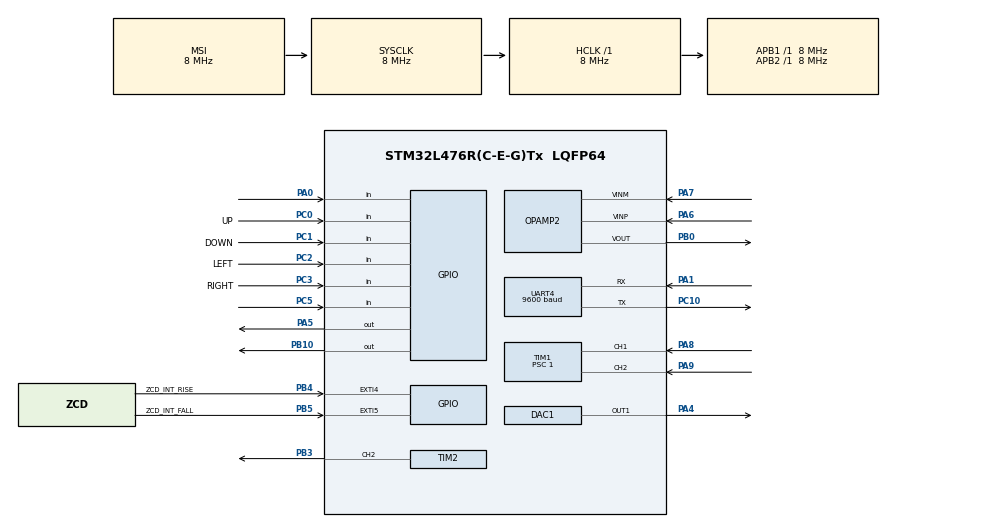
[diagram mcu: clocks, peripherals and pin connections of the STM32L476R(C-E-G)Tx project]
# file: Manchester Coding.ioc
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Mcu.Family=STM32L4
Mcu.Name=STM32L476R(C-E-G)Tx
Mcu.Package=LQFP64
NVIC.EXTI4_IRQn=true\:0\:0\:false\:false\:true\:true
NVIC.EXTI9_5_IRQn=true\:0\:0\:false\:false\:true\:true
NVIC.PriorityGroup=NVIC_PRIORITYGROUP_4
NVIC.TIM1_CC_IRQn=true\:0\:0\:false\:false\:true\:true
NVIC.TIM6_DAC_IRQn=true\:0\:0\:false\:false\:true\:true
NVIC.TIM7_IRQn=true\:0\:0\:false\:false\:true\:true
NVIC.UART4_IRQn=true\:0\:0\:false\:false\:true\:true
OPAMP2.PowerSupplyRange=OPAMP_POWERSUPPLY_HIGH
PA0.Signal=GPIO_Input
PA1.Mode=Asynchronous
PA1.Signal=UART4_RX
PA4.Signal=COMP_DAC11_group
PA5.Signal=GPIO_Output
PA6.Mode=Standalone
PA6.Signal=OPAMP2_VINP
PA7.Mode=Standalone
PA7.Signal=OPAMP2_VINM
PA8.Signal=S_TIM1_CH1
PA9.Signal=S_TIM1_CH2
PB0.Mode=Standalone
PB0.Signal=OPAMP2_VOUT
PB10.Signal=GPIO_Output
PB3\ (JTDO-TRACESWO).Signal=S_TIM2_CH2
PB4\ (NJTRST).GPIO_Label=ZCD_INT_RISE
PB4\ (NJTRST).Signal=GPXTI4
PB5.GPIO_Label=ZCD_INT_FALL
PB5.Signal=GPXTI5
PC0.GPIO_Label=UP
PC0.Signal=GPIO_Input
PC1.GPIO_Label=DOWN
PC1.Signal=GPIO_Input
PC10.Mode=Asynchronous
PC10.Signal=UART4_TX
PC2.GPIO_Label=LEFT
PC2.Signal=GPIO_Input
PC3.GPIO_Label=RIGHT
PC3.Signal=GPIO_Input
PC5.Signal=GPIO_Input
PH0-OSC_IN\ (PH0).Mode=HSE-External-Oscillator
PH0-OSC_IN\ (PH0).Signal=RCC_OSC_IN
PH1-OSC_OUT\ (PH1).Mode=HSE-External-Oscillator
PH1-OSC_OUT\ (PH1).Signal=RCC_OSC_OUT
ProjectManager.HeapSize=0x200
ProjectManager.StackSize=0x400
ProjectManager.TargetToolchain=MDK-ARM V5
RCC.ADCFreq_Value=32000000
RCC.AHBFreq_Value=8000000
RCC.APB1Freq_Value=8000000
RCC.APB1TimFreq_Value=8000000
RCC.APB2Freq_Value=8000000
RCC.APB2TimFreq_Value=8000000
RCC.CortexFreq_Value=8000000
RCC.HCLKFreq_Value=8000000
RCC.HSE_VALUE=8000000
RCC.HSI_VALUE=16000000
RCC.LSE_VALUE=32768
RCC.MSIClockRange=RCC_MSIRANGE_7
RCC.MSI_VALUE=8000000
RCC.SYSCLKFreq_VALUE=8000000
RCC.USBFreq_Value=32000000
RCC.VCOOutputFreq_Value=64000000
SH.COMP_DAC11_group.0=DAC1_OUT1,DAC_OUT1
SH.S_TIM1_CH1.0=TIM1_CH1,Input_Capture1_from_TI1
SH.S_TIM1_CH1.1=TIM1_CH1,TriggerSource_TI1FP1
SH.S_TIM1_CH2.0=TIM1_CH2,Input_Capture2_from_TI2
SH.S_TIM2_CH2.0=TIM2_CH2,PWM Generation2 CH2
TIM1.Channel-Input_Capture1_from_TI1=TIM_CHANNEL_1
TIM1.Channel-Input_Capture2_from_TI2=TIM_CHANNEL_2
TIM1.ICPolarity_CH2=TIM_INPUTCHANNELPOLARITY_FALLING
TIM1.Period=0xFFFF
TIM1.Prescaler=1
TIM1.TIM_MasterOutputTrigger=TIM_TRGO_UPDATE
TIM2.Channel-PWM\ Generation2\ CH2=TIM_CHANNEL_2
TIM2.Period=65535
TIM6.Period=51
TIM6.Prescaler=7
TIM7.Period=0xFFFF
UART4.BaudRate=9600
VP_TIM1_VS_ClockSourceINT.Mode=Internal
VP_TIM1_VS_ControllerModeReset.Mode=Reset Mode
VP_TIM2_VS_ClockSourceINT.Mode=Internal
VP_TIM6_VS_ClockSourceINT.Mode=Enable_Timer
VP_TIM7_VS_ClockSourceINT.Mode=Enable_Timer
board=custom

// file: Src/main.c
/* USER CODE BEGIN Header */
/**
  ******************************************************************************
  * @file           : main.c
  * @brief          : Main program body
  ******************************************************************************
  ** This notice applies to any and all portions of this file
  * that are not between comment pairs USER CODE BEGIN and
  * USER CODE END. Other portions of this file, whether
  * inserted by the user or by software development tools
  * are owned by their respective copyright owners.
  *
  * COPYRIGHT(c) 2019 STMicroelectronics
  *
  * Redistribution and use in source and binary forms, with or without modification,
  * are permitted provided that the following conditions are met:
  *   1. Redistributions of source code must retain the above copyright notice,
  *      this list of conditions and the following disclaimer.
  *   2. Redistributions in binary form must reproduce the above copyright notice,
  *      this list of conditions and the following disclaimer in the documentation
  *      and/or other materials provided with the distribution.
  *   3. Neither the name of STMicroelectronics nor the names of its contributors
  *      may be used to endorse or promote products derived from this software
  *      without specific prior written permission.
  *
  * THIS SOFTWARE IS PROVIDED BY THE COPYRIGHT HOLDERS AND CONTRIBUTORS "AS IS"
  * AND ANY EXPRESS OR IMPLIED WARRANTIES, INCLUDING, BUT NOT LIMITED TO, THE
  * IMPLIED WARRANTIES OF MERCHANTABILITY AND FITNESS FOR A PARTICULAR PURPOSE ARE
  * DISCLAIMED. IN NO EVENT SHALL THE COPYRIGHT HOLDER OR CONTRIBUTORS BE LIABLE
  * FOR ANY DIRECT, INDIRECT, INCIDENTAL, SPECIAL, EXEMPLARY, OR CONSEQUENTIAL
  * DAMAGES (INCLUDING, BUT NOT LIMITED TO, PROCUREMENT OF SUBSTITUTE GOODS OR
  * SERVICES; LOSS OF USE, DATA, OR PROFITS; OR BUSINESS INTERRUPTION) HOWEVER
  * CAUSED AND ON ANY THEORY OF LIABILITY, WHETHER IN CONTRACT, STRICT LIABILITY,
  * OR TORT (INCLUDING NEGLIGENCE OR OTHERWISE) ARISING IN ANY WAY OUT OF THE USE
  * OF THIS SOFTWARE, EVEN IF ADVISED OF THE POSSIBILITY OF SUCH DAMAGE.
  *
  ******************************************************************************
  */
/* USER CODE END Header */

#include "main.h"

DAC_HandleTypeDef hdac1;

OPAMP_HandleTypeDef hopamp2;

TIM_HandleTypeDef htim1;
TIM_HandleTypeDef htim2;
TIM_HandleTypeDef htim6;
TIM_HandleTypeDef htim7;

UART_HandleTypeDef huart4;

/* USER CODE BEGIN PV */
uint8_t encoded[2]={0x00,0x00};uint8_t data[1]={0x0F};uint8_t i=0,j=0;uint8_t tmp=0;
uint8_t decoded,count, pattern,rx[2]={0x00,0x00},x=0,k,l,v,b,c;
uint16_t msg,up,down,left,right,adc_output;
uint16_t captures[2],frequency,diffCapture,DutyCycle=0x0F,ccr1,DUTY;
uint16_t Capture,COUNT,Freq;
uint32_t clk1,clk2,clk3,rx_bit,rx_data,r[1]={1};
uint32_t dac_output,dac_value;
uint8_t chk=0,f=0,msg_tmp=0;
uint32_t PERIOD = 19999;
/* USER CODE END PV */

void SystemClock_Config(void);
static void MX_GPIO_Init(void);
static void MX_UART4_Init(void);
static void MX_TIM6_Init(void);
static void MX_TIM1_Init(void);
static void MX_OPAMP2_Init(void);
static void MX_DAC1_Init(void);
static void MX_TIM2_Init(void);
static void MX_TIM7_Init(void);
/* USER CODE BEGIN PFP */
static void UART_encode(void);
static void UART_decode(void);
//static void encode(void);
//static void decode(void);
/* USER CODE END PFP */

/* USER CODE BEGIN 0 */
static void UART_encode()
{
	tmp = data[0];
	for (i = 0; i < 2; i++)
	{
		encoded[i] = 0;
		for (j = 0; j < 4; j++)
		{
			encoded[i] >>= 2;
			if (tmp & 0x01)
					encoded[i] |= 0x40;
			else
					encoded[i] |= 0x80;
			tmp >>= 1;
		}
		HAL_UART_Transmit_IT(&huart4,(uint8_t *)encoded,2);
	}
}
static void UART_decode()
{
	HAL_UART_Receive_IT(&huart4,(uint8_t *)rx,2);
	for(k=0;k<2;k++)
	{
		tmp = rx[k];
		for (l=0;l<4;l++)
		{
			x++;
			decoded >>= 1;
			pattern = tmp & 0x03;
			if (pattern == 0x01)
				decoded |= 0x08;
			else if(pattern == 0x02)
					decoded &= 0xF7;
			tmp >>= 2;
		}
		if(k%2==0)
			msg = decoded;
		else
			msg = msg<<8|decoded;
	}
}
void HAL_TIM_PeriodElapsedCallback(TIM_HandleTypeDef *htim)
{
	count++;
	if(htim->Instance == TIM6)
	{
		if(msg_tmp!=0)
		{
			v++;
			msg_tmp>>= 1;
			if(msg_tmp&0x01)
				HAL_GPIO_WritePin(GPIOA,GPIO_PIN_5,GPIO_PIN_SET);
			else
				HAL_GPIO_WritePin(GPIOA,GPIO_PIN_5,GPIO_PIN_RESET);
		}
	}
	if(v<=8)
	{
		rx_bit = HAL_GPIO_ReadPin(GPIOC,GPIO_PIN_5);
		rx_data = rx_data<<1 | rx_bit;
	}
	/* Uncomment for checking time period*/
	/*
	if(count%2==0)
		HAL_GPIO_WritePin(GPIOC,GPIO_PIN_5,GPIO_PIN_SET);
	else
		HAL_GPIO_WritePin(GPIOC,GPIO_PIN_5,GPIO_PIN_RESET);
	*/
}

// Calculation of duty cycle of the pwm of ESP8266 using Input Capture Compare.
void HAL_TIM_IC_CaptureCallback(TIM_HandleTypeDef *htim)
{
	if(htim->Channel==HAL_TIM_ACTIVE_CHANNEL_1)
	{
		Capture = HAL_TIM_ReadCapturedValue(&htim1,TIM_CHANNEL_1);
		clk1 = HAL_RCC_GetPCLK2Freq();
		clk2 = HAL_RCC_GetPCLK1Freq();
		clk3 = HAL_RCC_GetHCLKFreq();
		COUNT = HAL_RCC_GetPCLK2Freq()/(htim1.Instance->PSC + 1);
		Freq = COUNT/Capture;

	}
	if (captures[1] >= captures[0])
		diffCapture = captures[1] - captures[0];
	else
		diffCapture = (htim1.Instance->ARR - captures[0]) + captures[1];
	frequency = HAL_RCC_GetPCLK1Freq() / (htim1.Instance->PSC + 1);
	frequency = (float) frequency / diffCapture;
	 /* Get the Input Capture value */
	captures[0] = HAL_TIM_ReadCapturedValue(htim, TIM_CHANNEL_1);
	captures[1] = HAL_TIM_ReadCapturedValue(htim, TIM_CHANNEL_2);
	ccr1 = TIM1->CCR1;
	if (captures[0] != 0)
	{
		/* Duty cycle computation */
		DutyCycle = ( captures[1] * 100)/captures[0];
		frequency = (HAL_RCC_GetHCLKFreq())/captures[0];
	}
	else
	{
		DutyCycle = 0;
		frequency = 0;
	}
}
// Checking Zero Crossing and Syncing pwm with supply voltage.
void HAL_GPIO_EXTI_Callback (uint16_t GPIO_PIN)
{
	if(GPIO_PIN == ZCD_INT_RISE_Pin && f!=1)
	{
		f=1;
		HAL_TIM_PWM_Start(&htim2,TIM_CHANNEL_2);
	}
	if(GPIO_PIN == ZCD_INT_FALL_Pin &&f<2)
	{
		f=2;
		HAL_TIM_PWM_Start(&htim2,TIM_CHANNEL_2);
		HAL_GPIO_WritePin(GPIOB,GPIO_PIN_10,GPIO_PIN_RESET);
  }
}

/* USER CODE END 0 */

int main(void)
{

  /* MCU Configuration--------------------------------------------------------*/

  /* Reset of all peripherals, Initializes the Flash interface and the Systick. */
  HAL_Init();

  /* Configure the system clock */
  SystemClock_Config();

  /* Initialize all configured peripherals */
  MX_GPIO_Init();
  MX_UART4_Init();
  MX_TIM6_Init();
  MX_TIM1_Init();
  MX_OPAMP2_Init();
  MX_DAC1_Init();
  MX_TIM2_Init();
  MX_TIM7_Init();

  /* Infinite loop */
  /* USER CODE BEGIN WHILE */
	HAL_TIM_IC_Start_IT(&htim1, TIM_CHANNEL_1);
	HAL_TIM_IC_Start_IT(&htim1, TIM_CHANNEL_2);
	HAL_OPAMP_Start(&hopamp2);

  while (1)
  {
    /* USER CODE END WHILE */

		/* USER CODE BEGIN 3 */

		/* Manchester Coding done using UART peripheral*/
		UART_encode();
		UART_decode();

		/* Manchester using GPIO's */
		HAL_TIM_Base_Start_IT(&htim6);

		//Reading the values for bot movement from ESP8266
		up = HAL_GPIO_ReadPin(GPIOC,UP_Pin);
		down = HAL_GPIO_ReadPin(GPIOC,DOWN_Pin);
		left = HAL_GPIO_ReadPin(GPIOC,LEFT_Pin);
		right = HAL_GPIO_ReadPin(GPIOC,RIGHT_Pin);
		adc_output = HAL_GPIO_ReadPin(GPIOA,GPIO_PIN_0);

		/* Writing the voltage for motor speed */
		dac_value = (data[0]/3)*1000;
		dac_output=(3.3* dac_value)/4096;
		HAL_DAC_Start(&hdac1, DAC_CHANNEL_1);
		if(HAL_DAC_SetValue(&hdac1, DAC_CHANNEL_1,DAC_ALIGN_12B_R,dac_value)==HAL_OK)
			chk = 1;
		else
			chk = 0;
	}
  /* USER CODE END 3 */
}

void SystemClock_Config(void)
{
  RCC_OscInitTypeDef RCC_OscInitStruct = {0};
  RCC_ClkInitTypeDef RCC_ClkInitStruct = {0};
  RCC_PeriphCLKInitTypeDef PeriphClkInit = {0};

  /**Initializes the CPU, AHB and APB busses clocks
  */
  RCC_OscInitStruct.OscillatorType = RCC_OSCILLATORTYPE_MSI;
  RCC_OscInitStruct.MSIState = RCC_MSI_ON;
  RCC_OscInitStruct.MSICalibrationValue = 0;
  RCC_OscInitStruct.MSIClockRange = RCC_MSIRANGE_7;
  RCC_OscInitStruct.PLL.PLLState = RCC_PLL_NONE;
  if (HAL_RCC_OscConfig(&RCC_OscInitStruct) != HAL_OK)
  {
    Error_Handler();
  }
  /**Initializes the CPU, AHB and APB busses clocks
  */
  RCC_ClkInitStruct.ClockType = RCC_CLOCKTYPE_HCLK|RCC_CLOCKTYPE_SYSCLK
                              |RCC_CLOCKTYPE_PCLK1|RCC_CLOCKTYPE_PCLK2;
  RCC_ClkInitStruct.SYSCLKSource = RCC_SYSCLKSOURCE_MSI;
  RCC_ClkInitStruct.AHBCLKDivider = RCC_SYSCLK_DIV1;
  RCC_ClkInitStruct.APB1CLKDivider = RCC_HCLK_DIV1;
  RCC_ClkInitStruct.APB2CLKDivider = RCC_HCLK_DIV1;

  if (HAL_RCC_ClockConfig(&RCC_ClkInitStruct, FLASH_LATENCY_0) != HAL_OK)
  {
    Error_Handler();
  }
  PeriphClkInit.PeriphClockSelection = RCC_PERIPHCLK_UART4;
  PeriphClkInit.Uart4ClockSelection = RCC_UART4CLKSOURCE_PCLK1;
  if (HAL_RCCEx_PeriphCLKConfig(&PeriphClkInit) != HAL_OK)
  {
    Error_Handler();
  }
  /**Configure the main internal regulator output voltage
  */
  if (HAL_PWREx_ControlVoltageScaling(PWR_REGULATOR_VOLTAGE_SCALE1) != HAL_OK)
  {
    Error_Handler();
  }
}

static void MX_DAC1_Init(void)
{

  DAC_ChannelConfTypeDef sConfig = {0};

  /**DAC Initialization
  */
  hdac1.Instance = DAC1;
  if (HAL_DAC_Init(&hdac1) != HAL_OK)
  {
    Error_Handler();
  }
  /**DAC channel OUT1 config
  */
  sConfig.DAC_SampleAndHold = DAC_SAMPLEANDHOLD_DISABLE;
  sConfig.DAC_Trigger = DAC_TRIGGER_NONE;
  sConfig.DAC_OutputBuffer = DAC_OUTPUTBUFFER_ENABLE;
  sConfig.DAC_ConnectOnChipPeripheral = DAC_CHIPCONNECT_DISABLE;
  sConfig.DAC_UserTrimming = DAC_TRIMMING_FACTORY;
  if (HAL_DAC_ConfigChannel(&hdac1, &sConfig, DAC_CHANNEL_1) != HAL_OK)
  {
    Error_Handler();
  }

}

static void MX_OPAMP2_Init(void)
{

  hopamp2.Instance = OPAMP2;
  hopamp2.Init.PowerSupplyRange = OPAMP_POWERSUPPLY_HIGH;
  hopamp2.Init.Mode = OPAMP_STANDALONE_MODE;
  hopamp2.Init.NonInvertingInput = OPAMP_NONINVERTINGINPUT_IO0;
  hopamp2.Init.InvertingInput = OPAMP_INVERTINGINPUT_IO0;
  hopamp2.Init.PowerMode = OPAMP_POWERMODE_NORMAL;
  hopamp2.Init.UserTrimming = OPAMP_TRIMMING_FACTORY;
  if (HAL_OPAMP_Init(&hopamp2) != HAL_OK)
  {
    Error_Handler();
  }

}

static void MX_TIM1_Init(void)
{

  TIM_ClockConfigTypeDef sClockSourceConfig = {0};
  TIM_SlaveConfigTypeDef sSlaveConfig = {0};
  TIM_MasterConfigTypeDef sMasterConfig = {0};
  TIM_IC_InitTypeDef sConfigIC = {0};

  htim1.Instance = TIM1;
  htim1.Init.Prescaler = 1;
  htim1.Init.CounterMode = TIM_COUNTERMODE_UP;
  htim1.Init.Period = 0xFFFF;
  htim1.Init.ClockDivision = TIM_CLOCKDIVISION_DIV1;
  htim1.Init.RepetitionCounter = 0;
  htim1.Init.AutoReloadPreload = TIM_AUTORELOAD_PRELOAD_DISABLE;
  if (HAL_TIM_Base_Init(&htim1) != HAL_OK)
  {
    Error_Handler();
  }
  sClockSourceConfig.ClockSource = TIM_CLOCKSOURCE_INTERNAL;
  if (HAL_TIM_ConfigClockSource(&htim1, &sClockSourceConfig) != HAL_OK)
  {
    Error_Handler();
  }
  if (HAL_TIM_IC_Init(&htim1) != HAL_OK)
  {
    Error_Handler();
  }
  sSlaveConfig.SlaveMode = TIM_SLAVEMODE_RESET;
  sSlaveConfig.InputTrigger = TIM_TS_TI1FP1;
  sSlaveConfig.TriggerPolarity = TIM_INPUTCHANNELPOLARITY_RISING;
  sSlaveConfig.TriggerFilter = 0;
  if (HAL_TIM_SlaveConfigSynchronization(&htim1, &sSlaveConfig) != HAL_OK)
  {
    Error_Handler();
  }
  sMasterConfig.MasterOutputTrigger = TIM_TRGO_UPDATE;
  sMasterConfig.MasterOutputTrigger2 = TIM_TRGO2_RESET;
  sMasterConfig.MasterSlaveMode = TIM_MASTERSLAVEMODE_DISABLE;
  if (HAL_TIMEx_MasterConfigSynchronization(&htim1, &sMasterConfig) != HAL_OK)
  {
    Error_Handler();
  }
  sConfigIC.ICPolarity = TIM_INPUTCHANNELPOLARITY_RISING;
  sConfigIC.ICSelection = TIM_ICSELECTION_DIRECTTI;
  sConfigIC.ICPrescaler = TIM_ICPSC_DIV1;
  sConfigIC.ICFilter = 0;
  if (HAL_TIM_IC_ConfigChannel(&htim1, &sConfigIC, TIM_CHANNEL_1) != HAL_OK)
  {
    Error_Handler();
  }
  sConfigIC.ICPolarity = TIM_INPUTCHANNELPOLARITY_FALLING;
  if (HAL_TIM_IC_ConfigChannel(&htim1, &sConfigIC, TIM_CHANNEL_2) != HAL_OK)
  {
    Error_Handler();
  }

}

static void MX_TIM2_Init(void)
{

  TIM_ClockConfigTypeDef sClockSourceConfig = {0};
  TIM_MasterConfigTypeDef sMasterConfig = {0};
  TIM_OC_InitTypeDef sConfigOC = {0};

  htim2.Instance = TIM2;
  htim2.Init.Prescaler = 7;
  htim2.Init.CounterMode = TIM_COUNTERMODE_UP;
  htim2.Init.Period = 9999;
  htim2.Init.ClockDivision = TIM_CLOCKDIVISION_DIV1;
  htim2.Init.AutoReloadPreload = TIM_AUTORELOAD_PRELOAD_DISABLE;
  if (HAL_TIM_Base_Init(&htim2) != HAL_OK)
  {
    Error_Handler();
  }
  sClockSourceConfig.ClockSource = TIM_CLOCKSOURCE_INTERNAL;
  if (HAL_TIM_ConfigClockSource(&htim2, &sClockSourceConfig) != HAL_OK)
  {
    Error_Handler();
  }
  if (HAL_TIM_PWM_Init(&htim2) != HAL_OK)
  {
    Error_Handler();
  }
  sMasterConfig.MasterOutputTrigger = TIM_TRGO_RESET;
  sMasterConfig.MasterSlaveMode = TIM_MASTERSLAVEMODE_DISABLE;
  if (HAL_TIMEx_MasterConfigSynchronization(&htim2, &sMasterConfig) != HAL_OK)
  {
    Error_Handler();
  }
  sConfigOC.OCMode = TIM_OCMODE_PWM1;
  sConfigOC.Pulse = 0;
  sConfigOC.OCPolarity = TIM_OCPOLARITY_HIGH;
  sConfigOC.OCFastMode = TIM_OCFAST_DISABLE;
  if (HAL_TIM_PWM_ConfigChannel(&htim2, &sConfigOC, TIM_CHANNEL_2) != HAL_OK)
  {
    Error_Handler();
  }
  HAL_TIM_MspPostInit(&htim2);

}

static void MX_TIM6_Init(void)
{

  TIM_MasterConfigTypeDef sMasterConfig = {0};

  htim6.Instance = TIM6;
  htim6.Init.Prescaler = 7;
  htim6.Init.CounterMode = TIM_COUNTERMODE_UP;
  htim6.Init.Period = 51;
  htim6.Init.AutoReloadPreload = TIM_AUTORELOAD_PRELOAD_DISABLE;
  if (HAL_TIM_Base_Init(&htim6) != HAL_OK)
  {
    Error_Handler();
  }
  sMasterConfig.MasterOutputTrigger = TIM_TRGO_RESET;
  sMasterConfig.MasterSlaveMode = TIM_MASTERSLAVEMODE_DISABLE;
  if (HAL_TIMEx_MasterConfigSynchronization(&htim6, &sMasterConfig) != HAL_OK)
  {
    Error_Handler();
  }

}

static void MX_TIM7_Init(void)
{

  TIM_MasterConfigTypeDef sMasterConfig = {0};

  htim7.Instance = TIM7;
  htim7.Init.Prescaler = 0;
  htim7.Init.CounterMode = TIM_COUNTERMODE_UP;
  htim7.Init.Period = 0xFFFF;
  htim7.Init.AutoReloadPreload = TIM_AUTORELOAD_PRELOAD_DISABLE;
  if (HAL_TIM_Base_Init(&htim7) != HAL_OK)
  {
    Error_Handler();
  }
  sMasterConfig.MasterOutputTrigger = TIM_TRGO_RESET;
  sMasterConfig.MasterSlaveMode = TIM_MASTERSLAVEMODE_DISABLE;
  if (HAL_TIMEx_MasterConfigSynchronization(&htim7, &sMasterConfig) != HAL_OK)
  {
    Error_Handler();
  }

}

static void MX_UART4_Init(void)
{

  huart4.Instance = UART4;
  huart4.Init.BaudRate = 9600;
  huart4.Init.WordLength = UART_WORDLENGTH_8B;
  huart4.Init.StopBits = UART_STOPBITS_1;
  huart4.Init.Parity = UART_PARITY_NONE;
  huart4.Init.Mode = UART_MODE_TX_RX;
  huart4.Init.HwFlowCtl = UART_HWCONTROL_NONE;
  huart4.Init.OverSampling = UART_OVERSAMPLING_16;
  huart4.Init.OneBitSampling = UART_ONE_BIT_SAMPLE_DISABLE;
  huart4.AdvancedInit.AdvFeatureInit = UART_ADVFEATURE_NO_INIT;
  if (HAL_UART_Init(&huart4) != HAL_OK)
  {
    Error_Handler();
  }

}

static void MX_GPIO_Init(void)
{
  GPIO_InitTypeDef GPIO_InitStruct = {0};

  /* GPIO Ports Clock Enable */
  __HAL_RCC_GPIOH_CLK_ENABLE();
  __HAL_RCC_GPIOC_CLK_ENABLE();
  __HAL_RCC_GPIOA_CLK_ENABLE();
  __HAL_RCC_GPIOB_CLK_ENABLE();

  /*Configure GPIO pin Output Level */
  HAL_GPIO_WritePin(GPIOA, GPIO_PIN_5, GPIO_PIN_RESET);

  /*Configure GPIO pin Output Level */
  HAL_GPIO_WritePin(GPIOB, GPIO_PIN_10, GPIO_PIN_RESET);

  /*Configure GPIO pins : UP_Pin DOWN_Pin LEFT_Pin RIGHT_Pin
                           PC5 */
  GPIO_InitStruct.Pin = UP_Pin|DOWN_Pin|LEFT_Pin|RIGHT_Pin
                          |GPIO_PIN_5;
  GPIO_InitStruct.Mode = GPIO_MODE_INPUT;
  GPIO_InitStruct.Pull = GPIO_NOPULL;
  HAL_GPIO_Init(GPIOC, &GPIO_InitStruct);

  /*Configure GPIO pin : PA0 */
  GPIO_InitStruct.Pin = GPIO_PIN_0;
  GPIO_InitStruct.Mode = GPIO_MODE_INPUT;
  GPIO_InitStruct.Pull = GPIO_NOPULL;
  HAL_GPIO_Init(GPIOA, &GPIO_InitStruct);

  /*Configure GPIO pin : PA5 */
  GPIO_InitStruct.Pin = GPIO_PIN_5;
  GPIO_InitStruct.Mode = GPIO_MODE_OUTPUT_PP;
  GPIO_InitStruct.Pull = GPIO_NOPULL;
  GPIO_InitStruct.Speed = GPIO_SPEED_FREQ_LOW;
  HAL_GPIO_Init(GPIOA, &GPIO_InitStruct);

  /*Configure GPIO pin : PB10 */
  GPIO_InitStruct.Pin = GPIO_PIN_10;
  GPIO_InitStruct.Mode = GPIO_MODE_OUTPUT_PP;
  GPIO_InitStruct.Pull = GPIO_NOPULL;
  GPIO_InitStruct.Speed = GPIO_SPEED_FREQ_LOW;
  HAL_GPIO_Init(GPIOB, &GPIO_InitStruct);

  /*Configure GPIO pins : ZCD_INT_RISE_Pin ZCD_INT_FALL_Pin */
  GPIO_InitStruct.Pin = ZCD_INT_RISE_Pin|ZCD_INT_FALL_Pin;
  GPIO_InitStruct.Mode = GPIO_MODE_IT_RISING;
  GPIO_InitStruct.Pull = GPIO_NOPULL;
  HAL_GPIO_Init(GPIOB, &GPIO_InitStruct);

  /* EXTI interrupt init*/
  HAL_NVIC_SetPriority(EXTI4_IRQn, 0, 0);
  HAL_NVIC_EnableIRQ(EXTI4_IRQn);

  HAL_NVIC_SetPriority(EXTI9_5_IRQn, 0, 0);
  HAL_NVIC_EnableIRQ(EXTI9_5_IRQn);

}

void Error_Handler(void)
{
}

/************************ (C) COPYRIGHT STMicroelectronics *****END OF FILE****/
